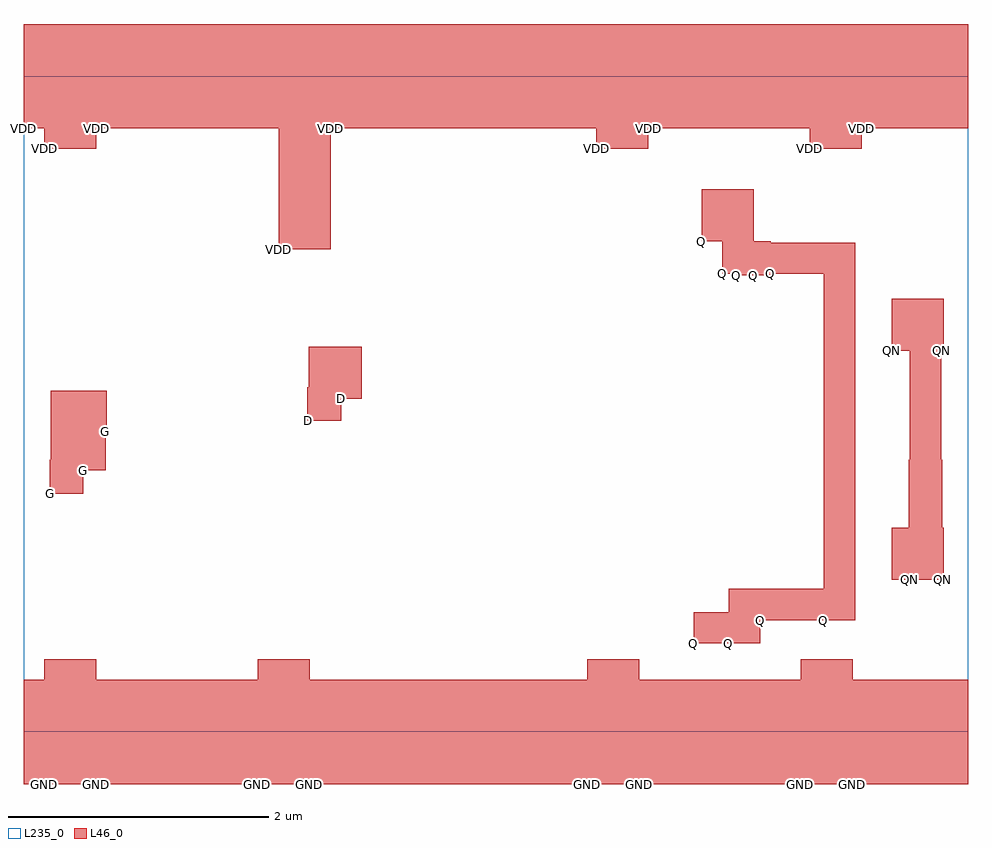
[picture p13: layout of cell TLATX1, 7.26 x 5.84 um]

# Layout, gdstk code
import gdstk
lib = gdstk.Library(unit=1e-6, precision=1e-09)
def R(c, l, rs):  # rectangles x0, y0, x1, y1
    for r in rs: c.add(gdstk.rectangle(r[:2], r[2:], *l))
L46_0 = (46, 0)
L235_0 = (235, 0)

tlatx1 = lib.new_cell('TLATX1')
R(tlatx1, L46_0, [(0,-0.4,0.16,0.4), (0.16,-0.4,0.56,0.56), (0.56,-0.4,1.8,0.4), (1.8,-0.4,2.2,0.56), (2.2,-0.4,4.33,0.4), (4.33,-0.4,4.73,0.56), (4.73,-0.4,5.97,0.4), (5.97,-0.4,6.37,0.56), (6.37,-0.4,7.26,0.4), (5.15,0.68,5.42,0.92), (5.42,0.68,5.66,1.1), (5.66,0.86,6.15,1.1), (6.15,0.86,6.39,3.76), (6.67,1.17,6.8,1.57), (6.8,1.17,6.81,2.09), (6.81,1.17,7.05,3.33), (7.05,1.17,7.06,2.09), (7.06,1.17,7.07,1.57), (0.2,1.83,0.21,2.09), (0.21,1.83,0.46,2.62), (0.46,2.01,0.63,2.62), (0.63,2.31,0.64,2.62), (2.18,2.39,2.19,2.65), (2.19,2.39,2.44,2.96), (2.44,2.56,2.6,2.96), (6.67,2.93,6.81,3.33), (7.05,2.93,7.07,3.33), (5.48,3.51,5.61,4.17), (5.61,3.51,5.74,3.77), (5.37,3.52,5.48,4.17), (5.74,3.52,6.15,3.76), (1.96,3.71,2.36,5.44), (5.21,3.77,5.37,4.17), (0.16,4.48,0.56,5.44), (4.4,4.48,4.8,5.44), (6.04,4.48,6.44,5.44), (0,4.64,0.16,5.44), (0.56,4.64,1.96,5.44), (2.36,4.64,4.4,5.44), (4.8,4.64,6.04,5.44), (6.44,4.64,7.26,5.44)])
R(tlatx1, L235_0, [(0,0,7.26,5.04)])
tlatx1.add(gdstk.Label('QN', (7.06,1.17), layer=101, texttype=0))
tlatx1.add(gdstk.Label('QN', (7.05,2.93), layer=101, texttype=0))
tlatx1.add(gdstk.Label('QN', (7.05,1.17), layer=101, texttype=0))
tlatx1.add(gdstk.Label('QN', (6.81,1.17), layer=101, texttype=0))
tlatx1.add(gdstk.Label('QN', (6.8,1.17), layer=101, texttype=0))
tlatx1.add(gdstk.Label('QN', (6.67,2.93), layer=101, texttype=0))
tlatx1.add(gdstk.Label('QN', (6.67,1.17), layer=101, texttype=0))
tlatx1.add(gdstk.Label('Q', (6.15,0.86), layer=101, texttype=0))
tlatx1.add(gdstk.Label('Q', (5.66,0.86), layer=101, texttype=0))
tlatx1.add(gdstk.Label('Q', (5.74,3.52), layer=101, texttype=0))
tlatx1.add(gdstk.Label('Q', (5.61,3.51), layer=101, texttype=0))
tlatx1.add(gdstk.Label('Q', (5.42,0.68), layer=101, texttype=0))
tlatx1.add(gdstk.Label('Q', (5.48,3.51), layer=101, texttype=0))
tlatx1.add(gdstk.Label('Q', (5.37,3.52), layer=101, texttype=0))
tlatx1.add(gdstk.Label('Q', (5.15,0.68), layer=101, texttype=0))
tlatx1.add(gdstk.Label('Q', (5.21,3.77), layer=101, texttype=0))
tlatx1.add(gdstk.Label('G', (0.63,2.31), layer=101, texttype=0))
tlatx1.add(gdstk.Label('G', (0.46,2.01), layer=101, texttype=0))
tlatx1.add(gdstk.Label('G', (0.21,1.83), layer=101, texttype=0))
tlatx1.add(gdstk.Label('G', (0.2,1.83), layer=101, texttype=0))
tlatx1.add(gdstk.Label('D', (2.44,2.56), layer=101, texttype=0))
tlatx1.add(gdstk.Label('D', (2.19,2.39), layer=101, texttype=0))
tlatx1.add(gdstk.Label('D', (2.18,2.39), layer=101, texttype=0))
tlatx1.add(gdstk.Label('VDD', (6.44,4.64), layer=101, texttype=0))
tlatx1.add(gdstk.Label('VDD', (6.04,4.48), layer=101, texttype=0))
tlatx1.add(gdstk.Label('VDD', (4.8,4.64), layer=101, texttype=0))
tlatx1.add(gdstk.Label('VDD', (4.4,4.48), layer=101, texttype=0))
tlatx1.add(gdstk.Label('VDD', (2.36,4.64), layer=101, texttype=0))
tlatx1.add(gdstk.Label('VDD', (1.96,3.71), layer=101, texttype=0))
tlatx1.add(gdstk.Label('VDD', (0.56,4.64), layer=101, texttype=0))
tlatx1.add(gdstk.Label('VDD', (0.16,4.48), layer=101, texttype=0))
tlatx1.add(gdstk.Label('VDD', (0,4.64), layer=101, texttype=0))
tlatx1.add(gdstk.Label('GND', (6.37,-0.4), layer=101, texttype=0))
tlatx1.add(gdstk.Label('GND', (5.97,-0.4), layer=101, texttype=0))
tlatx1.add(gdstk.Label('GND', (4.73,-0.4), layer=101, texttype=0))
tlatx1.add(gdstk.Label('GND', (4.33,-0.4), layer=101, texttype=0))
tlatx1.add(gdstk.Label('GND', (2.2,-0.4), layer=101, texttype=0))
tlatx1.add(gdstk.Label('GND', (1.8,-0.4), layer=101, texttype=0))
tlatx1.add(gdstk.Label('GND', (0.56,-0.4), layer=101, texttype=0))
tlatx1.add(gdstk.Label('GND', (0.16,-0.4), layer=101, texttype=0))
tlatx1.add(gdstk.Label('GND', (0,-0.4), layer=101, texttype=0))

lib.write_gds('TLATX1.gds')
